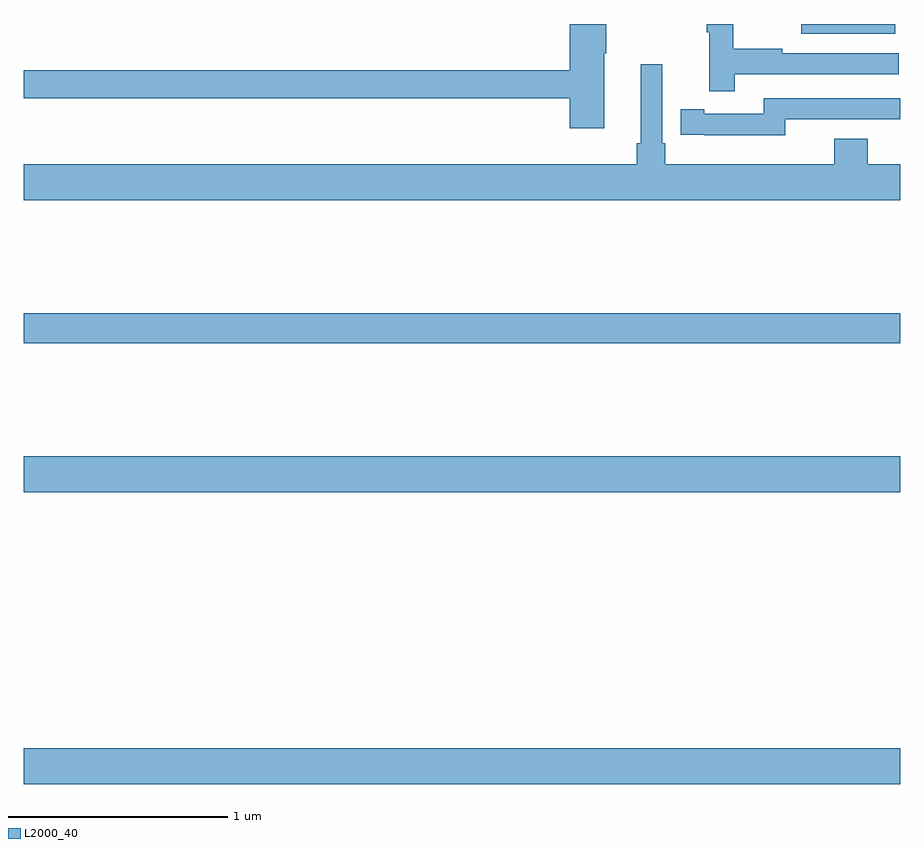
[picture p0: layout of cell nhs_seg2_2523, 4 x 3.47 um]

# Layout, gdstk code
import gdstk
lib = gdstk.Library(unit=1e-6, precision=1e-09)
def R(c, l, rs):  # rectangles x0, y0, x1, y1
    for r in rs: c.add(gdstk.rectangle(r[:2], r[2:], *l))
def P(c, l, *ps):  # polygons
    for p in ps: c.add(gdstk.Polygon(p, *l))
L2000_40 = (2000, 40)

nhs_seg2_2523 = lib.new_cell('nhs_seg2_2523')
R(nhs_seg2_2523, L2000_40, [(243,618.332,247,618.496), (243,619.664,247,619.828), (243,620.344,247,620.48), (246.549,621.755,246.976,621.8)])
P(nhs_seg2_2523, L2000_40, [(245.65,621.667),(245.658,621.667),(245.658,621.8),(245.492,621.8),(245.492,621.59),(243,621.59),(243,621.462),(245.492,621.462),(245.492,621.324),(245.65,621.324)],
  [(246.245,621.57),(246.994,621.57),(246.994,621.666),(246.461,621.666),(246.461,621.686),(246.238,621.686),(246.238,621.8),(246.117,621.8),(246.117,621.763),(246.128,621.763),(246.128,621.492),(246.245,621.492)],
  [(247,621.16),(246.851,621.16),(246.851,621.277),(246.698,621.277),(246.698,621.16),(245.927,621.16),(245.927,621.256),(245.913,621.256),(245.913,621.616),(245.816,621.616),(245.816,621.256),(245.797,621.256),(245.797,621.16),(243,621.16),(243,620.996),(247,620.996)],
  [(246.474,621.366),(246.934,621.366),(246.934,621.365),(247,621.365),(247,621.462),(246.378,621.462),(246.378,621.39),(246.106,621.39),(246.106,621.41),(245.998,621.41),(245.998,621.294),(246.106,621.294),(246.106,621.293),(246.474,621.293)])

lib.write_gds('nhs_seg2_2523.gds')
